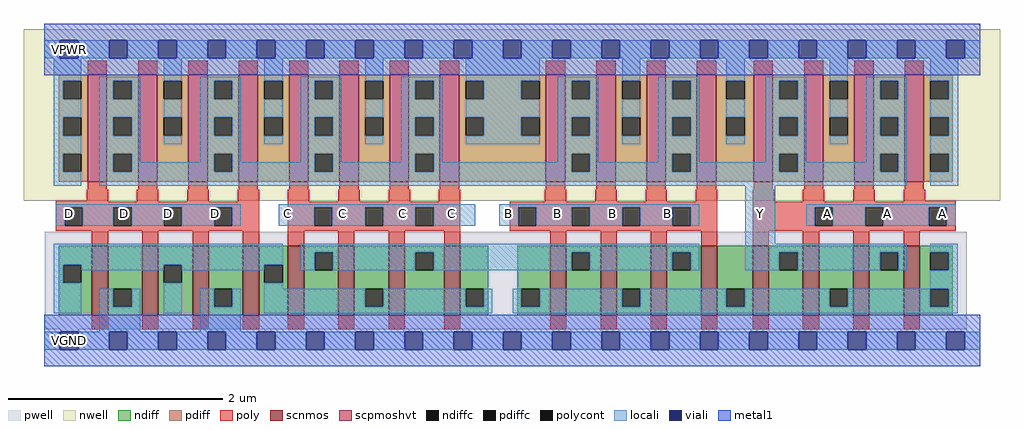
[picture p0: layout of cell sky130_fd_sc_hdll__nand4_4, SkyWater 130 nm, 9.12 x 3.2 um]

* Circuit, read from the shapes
.subckt sky130_fd_sc_hdll__nand4_4 A B C D VGND VNB VPB VPWR Y
XM1 VGND D n1 VNB sky130_fd_pr__nfet_01v8 w=0.65 l=0.15 m=4
XM2 n2 C n1 VNB sky130_fd_pr__nfet_01v8 w=0.65 l=0.15 m=4
XM3 n2 B n3 VNB sky130_fd_pr__nfet_01v8 w=0.65 l=0.15 m=4
XM4 Y A n3 VNB sky130_fd_pr__nfet_01v8 w=0.65 l=0.15 m=4
XM5 Y D VPWR VPB sky130_fd_pr__pfet_01v8_hvt w=1 l=0.18 m=4
XM6 Y C VPWR VPB sky130_fd_pr__pfet_01v8_hvt w=1 l=0.18 m=4
XM7 Y B VPWR VPB sky130_fd_pr__pfet_01v8_hvt w=1 l=0.18 m=4
XM8 Y A VPWR VPB sky130_fd_pr__pfet_01v8_hvt w=1 l=0.18 m=4
.ends

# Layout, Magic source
magic
tech sky130A
magscale 1 2
<< nwell >>
rect -38 261 1785 582
<< pwell >>
rect 1 21 1723 203
rect 30 -17 64 21
<< scnmos >>
rect 89 47 119 177
rect 183 47 213 177
rect 277 47 307 177
rect 371 47 401 177
rect 455 47 485 177
rect 549 47 579 177
rect 643 47 673 177
rect 747 47 777 177
rect 945 47 975 177
rect 1039 47 1069 177
rect 1133 47 1163 177
rect 1227 47 1257 177
rect 1323 47 1353 177
rect 1417 47 1447 177
rect 1511 47 1541 177
rect 1605 47 1635 177
<< scpmoshvt >>
rect 81 297 117 497
rect 175 297 211 497
rect 269 297 305 497
rect 363 297 399 497
rect 457 297 493 497
rect 551 297 587 497
rect 645 297 681 497
rect 739 297 775 497
rect 937 297 973 497
rect 1031 297 1067 497
rect 1125 297 1161 497
rect 1219 297 1255 497
rect 1325 297 1361 497
rect 1419 297 1455 497
rect 1513 297 1549 497
rect 1607 297 1643 497
<< ndiff >>
rect 27 142 89 177
rect 27 108 35 142
rect 69 108 89 142
rect 27 47 89 108
rect 119 97 183 177
rect 119 63 129 97
rect 163 63 183 97
rect 119 47 183 63
rect 213 142 277 177
rect 213 108 223 142
rect 257 108 277 142
rect 213 47 277 108
rect 307 97 371 177
rect 307 63 317 97
rect 351 63 371 97
rect 307 47 371 63
rect 401 142 455 177
rect 401 108 411 142
rect 445 108 455 142
rect 401 47 455 108
rect 485 165 549 177
rect 485 131 505 165
rect 539 131 549 165
rect 485 47 549 131
rect 579 97 643 177
rect 579 63 599 97
rect 633 63 643 97
rect 579 47 643 63
rect 673 165 747 177
rect 673 131 693 165
rect 727 131 747 165
rect 673 47 747 131
rect 777 97 829 177
rect 777 63 787 97
rect 821 63 829 97
rect 777 47 829 63
rect 883 97 945 177
rect 883 63 891 97
rect 925 63 945 97
rect 883 47 945 63
rect 975 165 1039 177
rect 975 131 985 165
rect 1019 131 1039 165
rect 975 47 1039 131
rect 1069 97 1133 177
rect 1069 63 1079 97
rect 1113 63 1133 97
rect 1069 47 1133 63
rect 1163 165 1227 177
rect 1163 131 1173 165
rect 1207 131 1227 165
rect 1163 47 1227 131
rect 1257 97 1323 177
rect 1257 63 1274 97
rect 1308 63 1323 97
rect 1257 47 1323 63
rect 1353 165 1417 177
rect 1353 131 1373 165
rect 1407 131 1417 165
rect 1353 47 1417 131
rect 1447 97 1511 177
rect 1447 63 1467 97
rect 1501 63 1511 97
rect 1447 47 1511 63
rect 1541 165 1605 177
rect 1541 131 1561 165
rect 1595 131 1605 165
rect 1541 47 1605 131
rect 1635 165 1697 177
rect 1635 131 1655 165
rect 1689 131 1697 165
rect 1635 97 1697 131
rect 1635 63 1655 97
rect 1689 63 1697 97
rect 1635 47 1697 63
<< pdiff >>
rect 27 485 81 497
rect 27 451 35 485
rect 69 451 81 485
rect 27 417 81 451
rect 27 383 35 417
rect 69 383 81 417
rect 27 349 81 383
rect 27 315 35 349
rect 69 315 81 349
rect 27 297 81 315
rect 117 485 175 497
rect 117 451 129 485
rect 163 451 175 485
rect 117 417 175 451
rect 117 383 129 417
rect 163 383 175 417
rect 117 349 175 383
rect 117 315 129 349
rect 163 315 175 349
rect 117 297 175 315
rect 211 485 269 497
rect 211 451 223 485
rect 257 451 269 485
rect 211 417 269 451
rect 211 383 223 417
rect 257 383 269 417
rect 211 297 269 383
rect 305 485 363 497
rect 305 451 317 485
rect 351 451 363 485
rect 305 417 363 451
rect 305 383 317 417
rect 351 383 363 417
rect 305 349 363 383
rect 305 315 317 349
rect 351 315 363 349
rect 305 297 363 315
rect 399 485 457 497
rect 399 451 411 485
rect 445 451 457 485
rect 399 417 457 451
rect 399 383 411 417
rect 445 383 457 417
rect 399 297 457 383
rect 493 485 551 497
rect 493 451 505 485
rect 539 451 551 485
rect 493 417 551 451
rect 493 383 505 417
rect 539 383 551 417
rect 493 349 551 383
rect 493 315 505 349
rect 539 315 551 349
rect 493 297 551 315
rect 587 485 645 497
rect 587 451 599 485
rect 633 451 645 485
rect 587 417 645 451
rect 587 383 599 417
rect 633 383 645 417
rect 587 297 645 383
rect 681 485 739 497
rect 681 451 693 485
rect 727 451 739 485
rect 681 417 739 451
rect 681 383 693 417
rect 727 383 739 417
rect 681 349 739 383
rect 681 315 693 349
rect 727 315 739 349
rect 681 297 739 315
rect 775 485 937 497
rect 775 451 787 485
rect 821 451 891 485
rect 925 451 937 485
rect 775 417 937 451
rect 775 383 787 417
rect 821 383 891 417
rect 925 383 937 417
rect 775 297 937 383
rect 973 485 1031 497
rect 973 451 985 485
rect 1019 451 1031 485
rect 973 417 1031 451
rect 973 383 985 417
rect 1019 383 1031 417
rect 973 349 1031 383
rect 973 315 985 349
rect 1019 315 1031 349
rect 973 297 1031 315
rect 1067 485 1125 497
rect 1067 451 1079 485
rect 1113 451 1125 485
rect 1067 417 1125 451
rect 1067 383 1079 417
rect 1113 383 1125 417
rect 1067 297 1125 383
rect 1161 485 1219 497
rect 1161 451 1173 485
rect 1207 451 1219 485
rect 1161 417 1219 451
rect 1161 383 1173 417
rect 1207 383 1219 417
rect 1161 349 1219 383
rect 1161 315 1173 349
rect 1207 315 1219 349
rect 1161 297 1219 315
rect 1255 485 1325 497
rect 1255 451 1274 485
rect 1308 451 1325 485
rect 1255 417 1325 451
rect 1255 383 1274 417
rect 1308 383 1325 417
rect 1255 297 1325 383
rect 1361 485 1419 497
rect 1361 451 1373 485
rect 1407 451 1419 485
rect 1361 417 1419 451
rect 1361 383 1373 417
rect 1407 383 1419 417
rect 1361 349 1419 383
rect 1361 315 1373 349
rect 1407 315 1419 349
rect 1361 297 1419 315
rect 1455 485 1513 497
rect 1455 451 1467 485
rect 1501 451 1513 485
rect 1455 417 1513 451
rect 1455 383 1467 417
rect 1501 383 1513 417
rect 1455 297 1513 383
rect 1549 485 1607 497
rect 1549 451 1561 485
rect 1595 451 1607 485
rect 1549 417 1607 451
rect 1549 383 1561 417
rect 1595 383 1607 417
rect 1549 349 1607 383
rect 1549 315 1561 349
rect 1595 315 1607 349
rect 1549 297 1607 315
rect 1643 485 1697 497
rect 1643 451 1655 485
rect 1689 451 1697 485
rect 1643 417 1697 451
rect 1643 383 1655 417
rect 1689 383 1697 417
rect 1643 349 1697 383
rect 1643 315 1655 349
rect 1689 315 1697 349
rect 1643 297 1697 315
<< ndiffc >>
rect 35 108 69 142
rect 129 63 163 97
rect 223 108 257 142
rect 317 63 351 97
rect 411 108 445 142
rect 505 131 539 165
rect 599 63 633 97
rect 693 131 727 165
rect 787 63 821 97
rect 891 63 925 97
rect 985 131 1019 165
rect 1079 63 1113 97
rect 1173 131 1207 165
rect 1274 63 1308 97
rect 1373 131 1407 165
rect 1467 63 1501 97
rect 1561 131 1595 165
rect 1655 131 1689 165
rect 1655 63 1689 97
<< pdiffc >>
rect 35 451 69 485
rect 35 383 69 417
rect 35 315 69 349
rect 129 451 163 485
rect 129 383 163 417
rect 129 315 163 349
rect 223 451 257 485
rect 223 383 257 417
rect 317 451 351 485
rect 317 383 351 417
rect 317 315 351 349
rect 411 451 445 485
rect 411 383 445 417
rect 505 451 539 485
rect 505 383 539 417
rect 505 315 539 349
rect 599 451 633 485
rect 599 383 633 417
rect 693 451 727 485
rect 693 383 727 417
rect 693 315 727 349
rect 787 451 821 485
rect 891 451 925 485
rect 787 383 821 417
rect 891 383 925 417
rect 985 451 1019 485
rect 985 383 1019 417
rect 985 315 1019 349
rect 1079 451 1113 485
rect 1079 383 1113 417
rect 1173 451 1207 485
rect 1173 383 1207 417
rect 1173 315 1207 349
rect 1274 451 1308 485
rect 1274 383 1308 417
rect 1373 451 1407 485
rect 1373 383 1407 417
rect 1373 315 1407 349
rect 1467 451 1501 485
rect 1467 383 1501 417
rect 1561 451 1595 485
rect 1561 383 1595 417
rect 1561 315 1595 349
rect 1655 451 1689 485
rect 1655 383 1689 417
rect 1655 315 1689 349
<< poly >>
rect 81 497 117 523
rect 175 497 211 523
rect 269 497 305 523
rect 363 497 399 523
rect 457 497 493 523
rect 551 497 587 523
rect 645 497 681 523
rect 739 497 775 523
rect 937 497 973 523
rect 1031 497 1067 523
rect 1125 497 1161 523
rect 1219 497 1255 523
rect 1325 497 1361 523
rect 1419 497 1455 523
rect 1513 497 1549 523
rect 1607 497 1643 523
rect 81 282 117 297
rect 175 282 211 297
rect 269 282 305 297
rect 363 282 399 297
rect 457 282 493 297
rect 551 282 587 297
rect 645 282 681 297
rect 739 282 775 297
rect 937 282 973 297
rect 1031 282 1067 297
rect 1125 282 1161 297
rect 1219 282 1255 297
rect 1325 282 1361 297
rect 1419 282 1455 297
rect 1513 282 1549 297
rect 1607 282 1643 297
rect 79 261 119 282
rect 21 259 119 261
rect 173 259 213 282
rect 267 259 307 282
rect 361 259 401 282
rect 21 249 401 259
rect 21 215 38 249
rect 72 215 129 249
rect 163 215 223 249
rect 257 215 317 249
rect 351 215 401 249
rect 21 205 401 215
rect 89 177 119 205
rect 183 177 213 205
rect 277 177 307 205
rect 371 177 401 205
rect 455 259 495 282
rect 549 259 589 282
rect 643 259 683 282
rect 737 259 777 282
rect 935 259 975 282
rect 1029 259 1069 282
rect 1123 259 1163 282
rect 1217 259 1257 282
rect 455 249 777 259
rect 455 215 504 249
rect 538 215 599 249
rect 633 215 693 249
rect 727 215 777 249
rect 455 205 777 215
rect 869 249 1257 259
rect 869 215 885 249
rect 919 215 985 249
rect 1019 215 1079 249
rect 1113 215 1173 249
rect 1207 215 1257 249
rect 869 205 1257 215
rect 455 177 485 205
rect 549 177 579 205
rect 643 177 673 205
rect 747 177 777 205
rect 945 177 975 205
rect 1039 177 1069 205
rect 1133 177 1163 205
rect 1227 177 1257 205
rect 1323 259 1363 282
rect 1417 259 1457 282
rect 1511 259 1551 282
rect 1605 261 1645 282
rect 1605 259 1702 261
rect 1323 249 1702 259
rect 1323 215 1439 249
rect 1473 215 1533 249
rect 1567 215 1652 249
rect 1686 215 1702 249
rect 1323 205 1702 215
rect 1323 177 1353 205
rect 1417 177 1447 205
rect 1511 177 1541 205
rect 1605 177 1635 205
rect 89 21 119 47
rect 183 21 213 47
rect 277 21 307 47
rect 371 21 401 47
rect 455 21 485 47
rect 549 21 579 47
rect 643 21 673 47
rect 747 21 777 47
rect 945 21 975 47
rect 1039 21 1069 47
rect 1133 21 1163 47
rect 1227 21 1257 47
rect 1323 21 1353 47
rect 1417 21 1447 47
rect 1511 21 1541 47
rect 1605 21 1635 47
<< polycont >>
rect 38 215 72 249
rect 129 215 163 249
rect 223 215 257 249
rect 317 215 351 249
rect 504 215 538 249
rect 599 215 633 249
rect 693 215 727 249
rect 885 215 919 249
rect 985 215 1019 249
rect 1079 215 1113 249
rect 1173 215 1207 249
rect 1439 215 1473 249
rect 1533 215 1567 249
rect 1652 215 1686 249
<< locali >>
rect 0 527 29 561
rect 63 527 121 561
rect 155 527 213 561
rect 247 527 305 561
rect 339 527 397 561
rect 431 527 489 561
rect 523 527 581 561
rect 615 527 673 561
rect 707 527 765 561
rect 799 527 857 561
rect 891 527 949 561
rect 983 527 1041 561
rect 1075 527 1133 561
rect 1167 527 1225 561
rect 1259 527 1317 561
rect 1351 527 1409 561
rect 1443 527 1501 561
rect 1535 527 1593 561
rect 1627 527 1685 561
rect 1719 527 1748 561
rect 18 485 69 527
rect 18 451 35 485
rect 18 417 69 451
rect 18 383 35 417
rect 18 349 69 383
rect 18 315 35 349
rect 18 289 69 315
rect 103 485 179 493
rect 103 451 129 485
rect 163 451 179 485
rect 103 417 179 451
rect 103 383 129 417
rect 163 383 179 417
rect 103 349 179 383
rect 223 485 257 527
rect 223 417 257 451
rect 223 367 257 383
rect 291 485 367 493
rect 291 451 317 485
rect 351 451 367 485
rect 291 417 367 451
rect 291 383 317 417
rect 351 383 367 417
rect 103 315 129 349
rect 163 333 179 349
rect 291 349 367 383
rect 411 485 445 527
rect 411 417 445 451
rect 411 367 445 383
rect 479 485 555 493
rect 479 451 505 485
rect 539 451 555 485
rect 479 417 555 451
rect 479 383 505 417
rect 539 383 555 417
rect 291 333 317 349
rect 163 315 317 333
rect 351 333 367 349
rect 479 349 555 383
rect 599 485 633 527
rect 599 417 633 451
rect 599 367 633 383
rect 667 485 743 493
rect 667 451 693 485
rect 727 451 743 485
rect 667 417 743 451
rect 667 383 693 417
rect 727 383 743 417
rect 479 333 505 349
rect 351 315 505 333
rect 539 333 555 349
rect 667 349 743 383
rect 787 485 925 527
rect 821 451 891 485
rect 787 417 925 451
rect 821 383 891 417
rect 787 367 925 383
rect 959 485 1035 493
rect 959 451 985 485
rect 1019 451 1035 485
rect 959 417 1035 451
rect 959 383 985 417
rect 1019 383 1035 417
rect 667 333 693 349
rect 539 315 693 333
rect 727 333 743 349
rect 959 349 1035 383
rect 1079 485 1113 527
rect 1079 417 1113 451
rect 1079 367 1113 383
rect 1147 485 1223 493
rect 1147 451 1173 485
rect 1207 451 1223 485
rect 1147 417 1223 451
rect 1147 383 1173 417
rect 1207 383 1223 417
rect 959 333 985 349
rect 727 315 985 333
rect 1019 333 1035 349
rect 1147 349 1223 383
rect 1274 485 1308 527
rect 1274 417 1308 451
rect 1274 367 1308 383
rect 1347 485 1423 493
rect 1347 451 1373 485
rect 1407 451 1423 485
rect 1347 417 1423 451
rect 1347 383 1373 417
rect 1407 383 1423 417
rect 1147 333 1173 349
rect 1019 315 1173 333
rect 1207 333 1223 349
rect 1347 349 1423 383
rect 1467 485 1501 527
rect 1467 417 1501 451
rect 1467 367 1501 383
rect 1535 485 1611 493
rect 1535 451 1561 485
rect 1595 451 1611 485
rect 1535 417 1611 451
rect 1535 383 1561 417
rect 1595 383 1611 417
rect 1347 333 1373 349
rect 1207 315 1373 333
rect 1407 333 1423 349
rect 1535 349 1611 383
rect 1535 333 1561 349
rect 1407 315 1561 333
rect 1595 315 1611 349
rect 103 289 1611 315
rect 1655 485 1707 527
rect 1689 451 1707 485
rect 1655 417 1707 451
rect 1689 383 1707 417
rect 1655 349 1707 383
rect 1689 315 1707 349
rect 1655 289 1707 315
rect 21 249 367 255
rect 21 215 38 249
rect 72 215 129 249
rect 163 215 223 249
rect 257 215 317 249
rect 351 215 367 249
rect 438 249 805 255
rect 438 215 504 249
rect 538 215 599 249
rect 633 215 693 249
rect 727 215 805 249
rect 850 249 1223 255
rect 850 215 885 249
rect 919 215 985 249
rect 1019 215 1079 249
rect 1113 215 1173 249
rect 1207 215 1223 249
rect 1309 181 1365 289
rect 1423 249 1702 255
rect 1423 215 1439 249
rect 1473 215 1533 249
rect 1567 215 1652 249
rect 1686 215 1702 249
rect 18 142 445 181
rect 18 108 35 142
rect 69 131 223 142
rect 18 51 69 108
rect 257 131 411 142
rect 103 63 129 97
rect 163 63 179 97
rect 103 17 179 63
rect 223 51 257 108
rect 479 165 1223 181
rect 479 131 505 165
rect 539 131 693 165
rect 727 131 985 165
rect 1019 131 1173 165
rect 1207 131 1223 165
rect 1309 165 1611 181
rect 1309 131 1373 165
rect 1407 131 1561 165
rect 1595 131 1611 165
rect 1655 165 1706 181
rect 1689 131 1706 165
rect 411 97 445 108
rect 1655 97 1706 131
rect 291 63 317 97
rect 351 63 367 97
rect 291 17 367 63
rect 411 63 599 97
rect 633 63 787 97
rect 821 63 837 97
rect 411 51 837 63
rect 875 63 891 97
rect 925 63 1079 97
rect 1113 63 1274 97
rect 1308 63 1467 97
rect 1501 63 1655 97
rect 1689 63 1706 97
rect 875 51 1706 63
rect 0 -17 29 17
rect 63 -17 121 17
rect 155 -17 213 17
rect 247 -17 305 17
rect 339 -17 397 17
rect 431 -17 489 17
rect 523 -17 581 17
rect 615 -17 673 17
rect 707 -17 765 17
rect 799 -17 857 17
rect 891 -17 949 17
rect 983 -17 1041 17
rect 1075 -17 1133 17
rect 1167 -17 1225 17
rect 1259 -17 1317 17
rect 1351 -17 1409 17
rect 1443 -17 1501 17
rect 1535 -17 1593 17
rect 1627 -17 1685 17
rect 1719 -17 1748 17
<< viali >>
rect 29 527 63 561
rect 121 527 155 561
rect 213 527 247 561
rect 305 527 339 561
rect 397 527 431 561
rect 489 527 523 561
rect 581 527 615 561
rect 673 527 707 561
rect 765 527 799 561
rect 857 527 891 561
rect 949 527 983 561
rect 1041 527 1075 561
rect 1133 527 1167 561
rect 1225 527 1259 561
rect 1317 527 1351 561
rect 1409 527 1443 561
rect 1501 527 1535 561
rect 1593 527 1627 561
rect 1685 527 1719 561
rect 29 -17 63 17
rect 121 -17 155 17
rect 213 -17 247 17
rect 305 -17 339 17
rect 397 -17 431 17
rect 489 -17 523 17
rect 581 -17 615 17
rect 673 -17 707 17
rect 765 -17 799 17
rect 857 -17 891 17
rect 949 -17 983 17
rect 1041 -17 1075 17
rect 1133 -17 1167 17
rect 1225 -17 1259 17
rect 1317 -17 1351 17
rect 1409 -17 1443 17
rect 1501 -17 1535 17
rect 1593 -17 1627 17
rect 1685 -17 1719 17
<< metal1 >>
rect 0 561 1748 592
rect 0 527 29 561
rect 63 527 121 561
rect 155 527 213 561
rect 247 527 305 561
rect 339 527 397 561
rect 431 527 489 561
rect 523 527 581 561
rect 615 527 673 561
rect 707 527 765 561
rect 799 527 857 561
rect 891 527 949 561
rect 983 527 1041 561
rect 1075 527 1133 561
rect 1167 527 1225 561
rect 1259 527 1317 561
rect 1351 527 1409 561
rect 1443 527 1501 561
rect 1535 527 1593 561
rect 1627 527 1685 561
rect 1719 527 1748 561
rect 0 496 1748 527
rect 0 17 1748 48
rect 0 -17 29 17
rect 63 -17 121 17
rect 155 -17 213 17
rect 247 -17 305 17
rect 339 -17 397 17
rect 431 -17 489 17
rect 523 -17 581 17
rect 615 -17 673 17
rect 707 -17 765 17
rect 799 -17 857 17
rect 891 -17 949 17
rect 983 -17 1041 17
rect 1075 -17 1133 17
rect 1167 -17 1225 17
rect 1259 -17 1317 17
rect 1351 -17 1409 17
rect 1443 -17 1501 17
rect 1535 -17 1593 17
rect 1627 -17 1685 17
rect 1719 -17 1748 17
rect 0 -48 1748 -17
<< labels >>
flabel locali s 1660 221 1694 255 0 FreeSans 200 0 0 0 A
port 1 nsew signal input
flabel locali s 1558 221 1592 255 0 FreeSans 200 0 0 0 A
port 1 nsew signal input
flabel locali s 1446 221 1480 255 0 FreeSans 200 0 0 0 A
port 1 nsew signal input
flabel locali s 30 221 64 255 0 FreeSans 200 0 0 0 D
port 4 nsew signal input
flabel locali s 132 221 166 255 0 FreeSans 200 0 0 0 D
port 4 nsew signal input
flabel locali s 231 238 231 238 0 FreeSans 200 0 0 0 D
port 4 nsew
flabel locali s 302 221 336 255 0 FreeSans 200 0 0 0 D
port 4 nsew
flabel locali s 438 221 472 255 0 FreeSans 200 0 0 0 C
port 3 nsew signal input
flabel locali s 540 221 574 255 0 FreeSans 200 0 0 0 C
port 3 nsew signal input
flabel locali s 744 221 778 255 0 FreeSans 200 0 0 0 C
port 3 nsew signal input
flabel locali s 652 221 686 255 0 FreeSans 200 0 0 0 C
port 3 nsew signal input
flabel locali s 1146 221 1181 255 0 FreeSans 200 0 0 0 B
port 2 nsew signal input
flabel locali s 850 221 884 255 0 FreeSans 200 0 0 0 B
port 2 nsew signal input
flabel locali s 942 221 976 255 0 FreeSans 200 0 0 0 B
port 2 nsew signal input
flabel locali s 1044 221 1078 255 0 FreeSans 200 0 0 0 B
port 2 nsew signal input
flabel locali s 1320 221 1354 255 0 FreeSans 200 0 0 0 Y
port 9 nsew signal output
flabel metal1 s 30 527 64 561 0 FreeSans 200 0 0 0 VPWR
port 8 nsew power bidirectional
flabel metal1 s 30 -17 64 17 0 FreeSans 200 0 0 0 VGND
port 5 nsew ground bidirectional
flabel nwell s 30 527 64 561 0 FreeSans 200 0 0 0 VPB
port 7 nsew power bidirectional
flabel pwell s 30 -17 64 17 0 FreeSans 200 0 0 0 VNB
port 6 nsew ground bidirectional
rlabel comment s 0 0 0 0 4 nand4_4
<< properties >>
string LEFsite unithd
string LEFclass CORE
string FIXED_BBOX 0 0 1748 544
string GDS_FILE $PDKPATH/libs.ref/sky130_fd_sc_hdll/gds/sky130_fd_sc_hdll.gds
string LEFsymmetry X Y R90
string GDS_END 2277066
string GDS_START 2263212
string LEFproperties maskLayoutSubType "abstract" prCellType "standard" originalViewName "layout"
<< end >>
